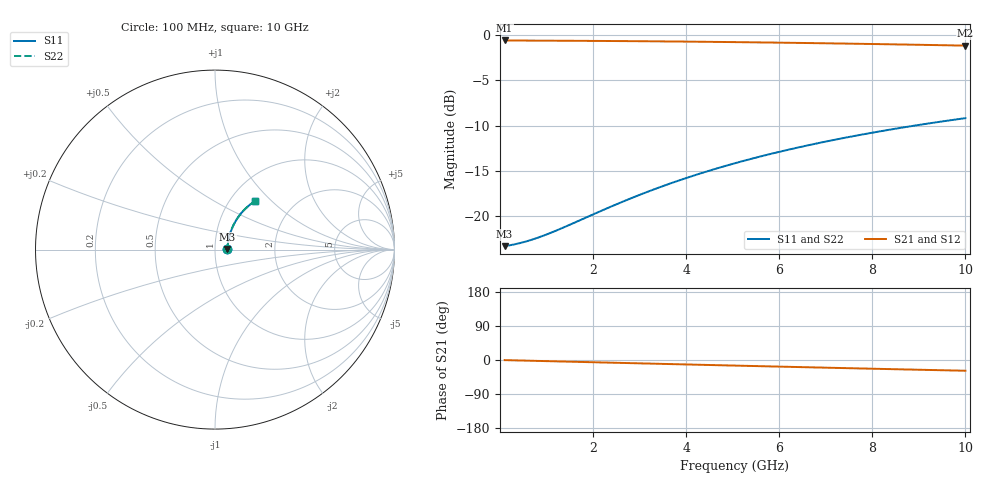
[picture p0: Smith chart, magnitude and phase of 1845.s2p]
# Hz S RI R 50.00
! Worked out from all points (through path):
!   100 points, 100 MHz to 10 GHz, reference 50 ohm
!   highest |S21| = -0.62 dB at 100 MHz (marker M1); lowest = -1.2 dB at 10 GHz (marker M2)
!   group delay of S21, straight-line fit = 7.89 ps
!   lowest |S11| = -23.3 dB at 100 MHz (marker M3), VSWR 1.15, Z = 57.3 + j0.388 ohm
!   |S11| at or under -10 dB: start of sweep to 8.908 GHz
!   |S22| runs from -23.3 to -9.2 dB; largest |S21 - S12| = 0
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1e8  0.0685 0.00337  0.9315 -0.00482  0.9315 -0.00482  0.0685 0.00337
3e8  0.0693 0.0101  0.9307 -0.0144  0.9307 -0.0144  0.0693 0.0101
5e8  0.07 0.0168  0.9299 -0.024  0.9299 -0.024  0.07 0.0168
8e8  0.0712 0.0268  0.9287 -0.0384  0.9287 -0.0384  0.0712 0.0268
1e9  0.0721 0.0334  0.9278 -0.0479  0.9278 -0.0479  0.0721 0.0334
1.2e9  0.0731 0.0401  0.9267 -0.0574  0.9267 -0.0574  0.0731 0.0401
1.8e9  0.0767 0.0598  0.9229 -0.0858  0.9229 -0.0858  0.0767 0.0598
2.3e9  0.0806 0.0759  0.9188 -0.1093  0.9188 -0.1093  0.0806 0.0759
2.7e9  0.0842 0.0887  0.9149 -0.1278  0.9149 -0.1278  0.0842 0.0887
3.1e9  0.0884 0.1013  0.9106 -0.1462  0.9106 -0.1462  0.0884 0.1013
3.4e9  0.0918 0.1106  0.9069 -0.1598  0.9069 -0.1598  0.0918 0.1106
3.8e9  0.0967 0.1227  0.9017 -0.1778  0.9017 -0.1778  0.0967 0.1227
4.2e9  0.1021 0.1346  0.8959 -0.1955  0.8959 -0.1955  0.1021 0.1346
4.6e9  0.108 0.1463  0.8897 -0.213  0.8897 -0.213  0.108 0.1463
5.1e9  0.1159 0.1604  0.8812 -0.2344  0.8812 -0.2344  0.1159 0.1604
5.5e9  0.1227 0.1713  0.8739 -0.2511  0.8739 -0.2511  0.1227 0.1713
5.9e9  0.1299 0.1819  0.8663 -0.2676  0.8663 -0.2676  0.1299 0.1819
6.7e9  0.1453 0.202  0.8497 -0.2994  0.8497 -0.2994  0.1453 0.202
7.5e9  0.1621 0.2206  0.8317 -0.3297  0.8317 -0.3297  0.1621 0.2206
8.4e9  0.1823 0.2397  0.8099 -0.362  0.8099 -0.362  0.1823 0.2397
9.2e9  0.2013 0.2549  0.7893 -0.3889  0.7893 -0.3889  0.2013 0.2549
1e10  0.221 0.2684  0.7679 -0.4142  0.7679 -0.4142  0.221 0.2684
